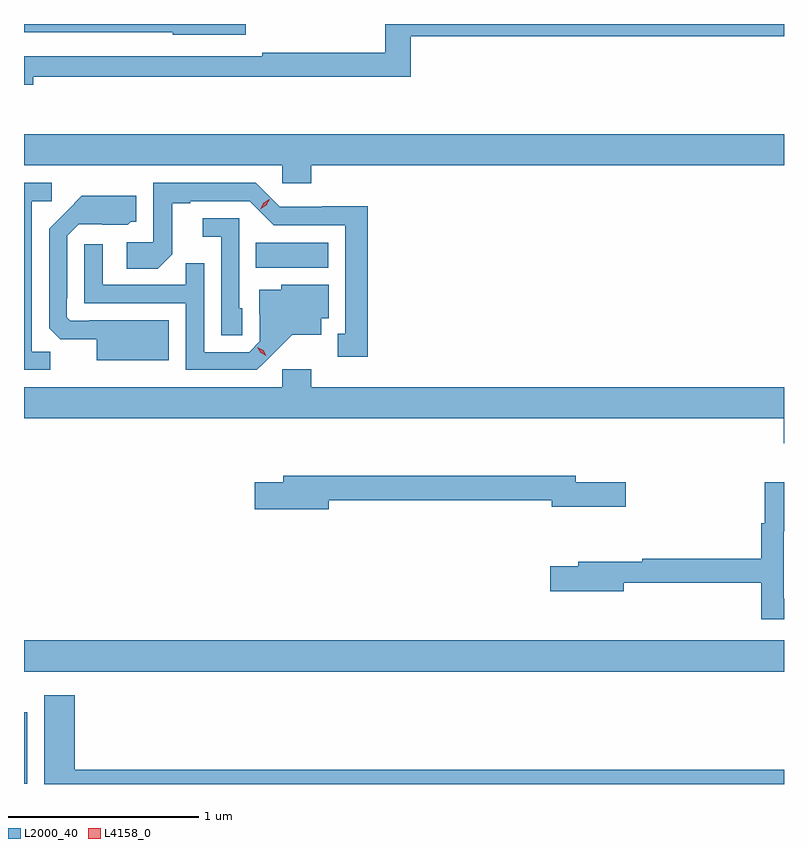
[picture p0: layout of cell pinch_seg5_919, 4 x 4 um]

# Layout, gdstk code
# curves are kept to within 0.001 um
import gdstk
lib = gdstk.Library(unit=1e-6, precision=1e-09)
def R(c, l, rs):  # rectangles x0, y0, x1, y1
    for r in rs: c.add(gdstk.rectangle(r[:2], r[2:], *l))
def P(c, l, *ps):  # polygons
    for p in ps: c.add(gdstk.Polygon(p, *l))
L2000_40 = (2000, 40)
L4158_0 = (4158, 0)

pinch_seg5_919 = lib.new_cell('pinch_seg5_919')
R(pinch_seg5_919, L2000_40, [(681.381,898.794,681.399,899.169), (681.381,899.384,685.381,899.548), (682.6,901.508,682.981,901.642)])
P(pinch_seg5_919, L2000_40, [(682.549,902.792),(681.381,902.792),(681.381,902.748),(682.164,902.748),(682.164,902.735),(682.549,902.735)],
  [(681.43,902.514),(683.417,902.514),(683.417,902.728),(685.381,902.728),(685.381,902.792),(683.281,902.792),(683.281,902.642),(682.636,902.642),(682.636,902.622),(681.381,902.622),(681.381,902.471),(681.43,902.471)],
  [(682.892,902.048),(685.381,902.048),(685.381,902.212),(681.381,902.212),(681.381,902.048),(682.74,902.048),(682.74,901.955),(682.892,901.955)],
  [(681.519,901.067),(681.423,901.067),(681.423,901.86),(681.526,901.86),(681.526,901.956),(681.381,901.956),(681.381,900.972),(681.519,900.972)],
  [(683.191,901.832),(682.95,901.832),(682.95,901.83),(682.728,901.83),(682.602,901.956),(682.062,901.956),(682.062,901.644),(681.921,901.644),(681.921,901.504),(682.085,901.504),(682.161,901.58),(682.161,901.848),(682.255,901.848),(682.255,901.86),(682.569,901.86),(682.695,901.734),(683.072,901.734),(683.072,901.161),(683.033,901.161),(683.033,901.041),(683.191,901.041)],
  [(682.144,901.234),(681.724,901.234),(681.724,901.23),(681.624,901.23),(681.606,901.248),(681.606,901.348),(681.609,901.348),(681.609,901.677),(681.669,901.737),(681.926,901.736),(681.942,901.752),(681.973,901.752),(681.973,901.888),(681.685,901.888),(681.513,901.714),(681.513,901.192),(681.572,901.133),(681.764,901.133),(681.764,901.022),(682.144,901.022)],
  [(682.53,901.296),(682.515,901.296),(682.515,901.77),(682.323,901.77),(682.323,901.673),(682.419,901.673),(682.419,901.153),(682.53,901.153)],
  [(682.639,901.005),(682.793,901.157),(682.945,901.157),(682.945,901.244),(682.984,901.244),(682.984,901.42),(682.734,901.42),(682.734,901.393),(682.619,901.393),(682.619,901.264),(682.623,901.264),(682.623,901.122),(682.566,901.065),(682.329,901.065),(682.329,901.532),(682.231,901.532),(682.231,901.419),(681.795,901.419),(681.795,901.633),(681.699,901.633),(681.699,901.323),(682.233,901.323),(682.233,900.972),(682.606,900.972)],
  [(685.381,900.88),(682.892,900.88),(682.892,900.976),(682.74,900.976),(682.74,900.88),(681.381,900.88),(681.381,900.716),(685.379,900.716),(685.379,900.585),(685.381,900.585)],
  [(682.984,900.286),(684.158,900.286),(684.158,900.251),(684.547,900.251),(684.547,900.381),(684.286,900.381),(684.286,900.415),(682.745,900.415),(682.745,900.381),(682.596,900.381),(682.596,900.239),(682.984,900.239)],
  [(685.381,899.767),(685.379,899.767),(685.379,900.122),(685.381,900.122),(685.381,900.379),(685.28,900.379),(685.28,900.165),(685.261,900.165),(685.261,899.978),(684.634,899.978),(684.634,899.963),(684.299,899.963),(684.299,899.937),(684.15,899.937),(684.15,899.807),(684.538,899.807),(684.538,899.85),(685.261,899.85),(685.261,899.658),(685.381,899.658)],
  [(685.381,898.868),(681.647,898.868),(681.647,899.26),(681.488,899.26),(681.488,898.792),(685.381,898.792)])
P(pinch_seg5_919, L4158_0, [(682.625,901.817),(682.625,901.817),(682.642,901.85),(682.673,901.87),(682.674,901.87),(682.674,901.87),(682.657,901.837),(682.625,901.817)],
  [(682.657,901.047),(682.626,901.062),(682.609,901.091),(682.609,901.092),(682.609,901.092),(682.64,901.076),(682.657,901.047),(682.657,901.047)])

lib.write_gds('pinch_seg5_919.gds')
